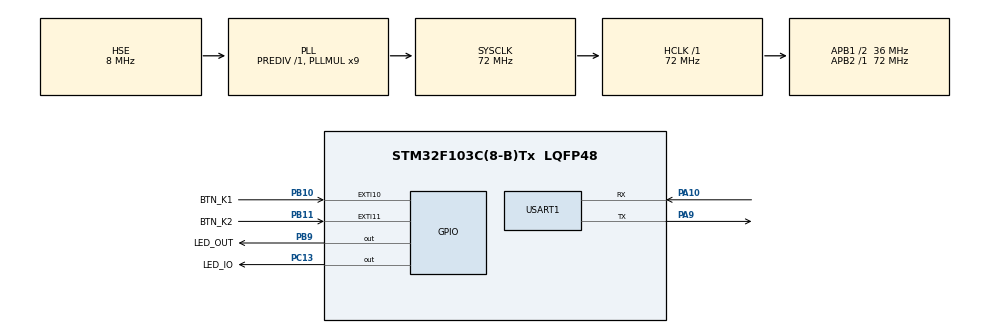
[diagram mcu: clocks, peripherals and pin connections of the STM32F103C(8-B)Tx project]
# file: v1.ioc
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Dma.Request0=USART1_RX
Dma.USART1_RX.0.Direction=DMA_PERIPH_TO_MEMORY
Dma.USART1_RX.0.Instance=DMA1_Channel5
Dma.USART1_RX.0.MemDataAlignment=DMA_MDATAALIGN_BYTE
Dma.USART1_RX.0.MemInc=DMA_MINC_ENABLE
Dma.USART1_RX.0.Mode=DMA_CIRCULAR
Dma.USART1_RX.0.PeriphDataAlignment=DMA_PDATAALIGN_BYTE
Dma.USART1_RX.0.PeriphInc=DMA_PINC_DISABLE
Dma.USART1_RX.0.Priority=DMA_PRIORITY_LOW
FREERTOS.Tasks01=defaultTask,24,128,StartDefaultTask,Default,NULL,Dynamic,NULL,NULL
FREERTOS.configTOTAL_HEAP_SIZE=15360
Mcu.Family=STM32F1
Mcu.Name=STM32F103C(8-B)Tx
Mcu.Package=LQFP48
NVIC.DMA1_Channel5_IRQn=true\:5\:0\:false\:false\:true\:true\:false\:true\:true
NVIC.EXTI15_10_IRQn=true\:5\:0\:false\:false\:true\:true\:true\:true\:true
NVIC.PriorityGroup=NVIC_PRIORITYGROUP_4
NVIC.TIM4_IRQn=true\:15\:0\:false\:false\:true\:false\:false\:true\:true
NVIC.TimeBase=TIM4_IRQn
NVIC.TimeBaseIP=TIM4
NVIC.USART1_IRQn=true\:5\:0\:false\:true\:true\:1\:true\:true\:true\:true
PA10.GPIO_PuPd=GPIO_PULLUP
PA10.Mode=Asynchronous
PA10.Signal=USART1_RX
PA13.Mode=Serial_Wire
PA13.Signal=SYS_JTMS-SWDIO
PA14.Mode=Serial_Wire
PA14.Signal=SYS_JTCK-SWCLK
PA9.GPIO_Speed=GPIO_SPEED_FREQ_HIGH
PA9.Mode=Asynchronous
PA9.Signal=USART1_TX
PB10.GPIO_Label=BTN_K1
PB10.GPIO_ModeDefaultEXTI=GPIO_MODE_IT_FALLING
PB10.GPIO_PuPd=GPIO_PULLUP
PB10.Signal=GPXTI10
PB11.GPIO_Label=BTN_K2
PB11.GPIO_ModeDefaultEXTI=GPIO_MODE_IT_FALLING
PB11.GPIO_PuPd=GPIO_PULLUP
PB11.Signal=GPXTI11
PB9.GPIO_Label=LED_OUT
PB9.Signal=GPIO_Output
PC13-TAMPER-RTC.GPIO_Label=LED_IO
PC13-TAMPER-RTC.Signal=GPIO_Output
PD0-OSC_IN.Mode=HSE-External-Oscillator
PD0-OSC_IN.Signal=RCC_OSC_IN
PD1-OSC_OUT.Mode=HSE-External-Oscillator
PD1-OSC_OUT.Signal=RCC_OSC_OUT
ProjectManager.HeapSize=0x200
ProjectManager.StackSize=0x400
ProjectManager.TargetToolchain=STM32CubeIDE
RCC.AHBFreq_Value=72000000
RCC.APB1CLKDivider=RCC_HCLK_DIV2
RCC.APB1Freq_Value=36000000
RCC.APB1TimFreq_Value=72000000
RCC.APB2Freq_Value=72000000
RCC.APB2TimFreq_Value=72000000
RCC.HCLKFreq_Value=72000000
RCC.PLLMUL=RCC_PLL_MUL9
RCC.PLLSourceVirtual=RCC_PLLSOURCE_HSE
RCC.SYSCLKFreq_VALUE=72000000
RCC.SYSCLKSource=RCC_SYSCLKSOURCE_PLLCLK
RCC.USBFreq_Value=72000000
USART1.VirtualMode=VM_ASYNC
VP_FREERTOS_VS_CMSIS_V2.Mode=CMSIS_V2
VP_SYS_VS_tim4.Mode=TIM4
board=custom

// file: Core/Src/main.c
/* USER CODE BEGIN Header */
/**
  ******************************************************************************
  * @file           : main.c
  * @brief          : Main program body
  ******************************************************************************
  * @attention
  *
  * Copyright (c) 2025 STMicroelectronics.
  * All rights reserved.
  *
  * This software is licensed under terms that can be found in the LICENSE file
  * in the root directory of this software component.
  * If no LICENSE file comes with this software, it is provided AS-IS.
  *
  ******************************************************************************
  */
/* USER CODE END Header */
#include "main.h"
#include "cmsis_os.h"

/* USER CODE BEGIN Includes */
#include "queue.h"
#include"timers.h"
#include "semphr.h"
#include "task.h"
#include "event_groups.h"

#include <stdio.h>
#include <string.h>
#include <stdint.h>
/* USER CODE END Includes */

/* USER CODE BEGIN PTD */
struct AInfo
{
	uint8_t sizeString;
	uint8_t dataString[255];
};
/* USER CODE END PTD */

/* USER CODE BEGIN PD */
#define BIT_0 (1<<0)
#define BIT_1 (1<<1)
#define BIT_2 (1<<2)
/* USER CODE END PD */

UART_HandleTypeDef huart1;
DMA_HandleTypeDef hdma_usart1_rx;

/* Definitions for defaultTask */
osThreadId_t defaultTaskHandle;
const osThreadAttr_t defaultTask_attributes = {
  .name = "defaultTask",
  .stack_size = 128 * 4,
  .priority = (osPriority_t) osPriorityNormal,
};
/* USER CODE BEGIN PV */
#define DWT_CTRL (*(volatile uint32_t*)0xE0001000) //DWT_CYCLE COUNT REGISTER
#define ISR_POOL_SIZE 5  // Pre-alloc 5 structs for ISR
static struct AInfo isrPool[ISR_POOL_SIZE];
static uint8_t poolIndex = 0;
static uint8_t poolUsed = 0;
QueueHandle_t XQueue;
QueueHandle_t XQueueUart;
QueueHandle_t XQueueUartDMA;
uint8_t bufferRx[255];
TimerHandle_t xTimerAutoReload,xTimerOneShot;
SemaphoreHandle_t xSemaphoreBin_1=NULL;
SemaphoreHandle_t xSemaphoreBin_2=NULL;
SemaphoreHandle_t xSemaphoreCnt_1=NULL;
SemaphoreHandle_t xSemaphoreCnt_2=NULL;
SemaphoreHandle_t xMutex = NULL;

static TaskHandle_t xTaskNotifyHandle_1;
static TaskHandle_t xTaskNotifyHandle_2;

static EventGroupHandle_t xEventGroupHandle;

/* USER CODE END PV */

void SystemClock_Config(void);
static void MX_GPIO_Init(void);
static void MX_DMA_Init(void);
static void MX_USART1_UART_Init(void);
void StartDefaultTask(void *argument);

static void MX_NVIC_Init(void);
/* USER CODE BEGIN PFP */
void vTaskLed(void *pvParameters);
void vTaskLed_out(void *pvParameters);
void vTaskSendQueue(void *pvParameters);
void vTaskReceiveQueue(void *pvParameters);
void vTaskReceiveQueueUart(void *pvParameters);
void vTaskReceiveQueueUartDMA(void *pvParameters);
void vTaskDebug(void *pvParameters);

static void prvTimerOneShotCallback( TimerHandle_t xTimer);
static void prvTimerAutoReloadCallback( TimerHandle_t xTimer);
static void prvTimerCallback( TimerHandle_t xTimer);

void vTaskSemaphore_1 (void *pvParameters);
void vTaskSemaphore_2 (void *pvParameters);

void vTaskNotification_1(void *pvParameters);
void vTaskNotification_2(void *pvParameters);

void vTaskEvent_1 (void *pvpParameters);
void vTaskEvent_2 (void *pvpParameters);
void vTaskEventCheck (void *pvpParameters);
/* USER CODE END PFP */

int main(void)
{

  /* MCU Configuration--------------------------------------------------------*/

  /* Reset of all peripherals, Initializes the Flash interface and the Systick. */
  HAL_Init();

  /* Configure the system clock */
  SystemClock_Config();

  /* Initialize all configured peripherals */
  MX_GPIO_Init();
  MX_DMA_Init();
  MX_USART1_UART_Init();

  /* Initialize interrupts */
  MX_NVIC_Init();
  /* USER CODE BEGIN 2 */
  HAL_UART_Receive_DMA(&huart1,bufferRx,255); //store data received into buffer array
  /* USER CODE END 2 */

  /* Init scheduler */
  osKernelInitialize();

  /* USER CODE BEGIN RTOS_MUTEX */
  /* add mutexes, ... */
  xMutex= xSemaphoreCreateMutex();
   if(xMutex ==NULL)
   {
 	  HAL_UART_Transmit(&huart1, "Error while creating mutex", 26, 1000);
   }
  /* USER CODE END RTOS_MUTEX */

  /* USER CODE BEGIN RTOS_SEMAPHORES */
  /* add semaphores, ... */

  /*xSemaphoreBin_1= xSemaphoreCreateBinary();
  xSemaphoreBin_2= xSemaphoreCreateBinary();

  if(xSemaphoreBin_1== NULL)
  {
	  HAL_UART_Transmit(&huart1,"Error While Creating Semaphore 1",32,1000);
  }
  if(xSemaphoreBin_2==NULL)
  {
	  HAL_UART_Transmit(&huart1,"Error While Creating Semaphore 2",32,1000);
  }*/
 /* xSemaphoreCnt_1= xSemaphoreCreateCounting(5,0);
  xSemaphoreCnt_2= xSemaphoreCreateCounting(5,0);

  if(xSemaphoreCnt_1== NULL)
  {
	  HAL_UART_Transmit(&huart1,"Error While Creating Semaphore 1",32,1000);
  }
  if(xSemaphoreCnt_2==NULL)
  {
	  HAL_UART_Transmit(&huart1,"Error While Creating Semaphore 2",32,1000);
  }*/

  /* USER CODE END RTOS_SEMAPHORES */

  /* USER CODE BEGIN RTOS_TIMERS */
  /* start timers, add new ones, ... */
  //creating on-shot

  if((xTimerOneShot= xTimerCreate("Oneshot",pdMS_TO_TICKS(355),pdFALSE, 0, prvTimerCallback))==NULL)
  {
	  HAL_UART_Transmit(&huart1,"Error While Creating ONE_SHOT Timer",35,1000);
  }
  else
  {
	  if(xTimerStart(xTimerOneShot,0)==pdFAIL)
	  {
		  HAL_UART_Transmit(&huart1,"Error during ONE_SHOT Timer start",33,1000);
	  }
  }

  //creating AUTORELOAD

  if((xTimerAutoReload= xTimerCreate("Auto Reload",pdMS_TO_TICKS(50),pdTRUE, 0, prvTimerCallback))==NULL)
  {
	  HAL_UART_Transmit(&huart1,"Error While Creating AUTO_RELOAD Timer",35,1000);
  }
  else
  {
	  if(xTimerStart(xTimerAutoReload,0)==pdFAIL)
	  {
		  HAL_UART_Transmit(&huart1,"Error during AUTO_RELOAD Timer start",33,1000);
	  }
  }
  /* USER CODE END RTOS_TIMERS */

  /* USER CODE BEGIN RTOS_QUEUES */
  /* add queues, ... */
  //create 10 elements 30 bit queue
  if ((XQueue= xQueueCreate(10,sizeof(uint32_t)))== NULL)
  {
	  HAL_UART_Transmit(&huart1,"Error while Creating Queue",26,1000);
  }
  /*//50 elemetn 8 bit
  if ((XQueueUart= xQueueCreate(10,sizeof(uint8_t)))== NULL)
   {
 	  HAL_UART_Transmit(&huart1,"Error while Creating Queue UART",31,1000);
   }*/
  //5 element unsigned 32 bit
  if ((XQueueUartDMA= xQueueCreate(10,sizeof(struct AInfo *)))== NULL)
     {
   	  HAL_UART_Transmit(&huart1,"Error while Creating Queue UART DMA \n",31,1000);
     }
  /* USER CODE END RTOS_QUEUES */

  /* Create the thread(s) */
  /* creation of defaultTask */
  defaultTaskHandle = osThreadNew(StartDefaultTask, NULL, &defaultTask_attributes);

  /* USER CODE BEGIN RTOS_THREADS */
  /* add threads, ... */
  //Enable cycle counter
  DWT_CTRL |= (1<<0);
  SEGGER_SYSVIEW_Conf();
  SEGGER_SYSVIEW_Start();

  if((xTaskCreate(vTaskLed,"TASK LED", configMINIMAL_STACK_SIZE, NULL, 1, NULL))!=pdTRUE)
  {
	  HAL_UART_Transmit(&huart1,"Error while Creating TASK LED",29,1000);
  }
  if((xTaskCreate(vTaskLed_out,"TASK LED_OUT", configMINIMAL_STACK_SIZE, NULL, 1, NULL))!=pdTRUE)
    {
	  HAL_UART_Transmit(&huart1,"Error while Creating TASK LED_OUT",33,1000);
    }

  //Task to send Queue
 /* if((xTaskCreate(vTaskSendQueue,"TASK SEND QUEUE", configMINIMAL_STACK_SIZE, NULL, 1, NULL))!=pdTRUE)
      {
  	  HAL_UART_Transmit(&huart1,"Error while Creating TASK SEND QUEUE",37,1000);
      }
  if((xTaskCreate(vTaskReceiveQueue,"TASK RECEIVE QUEUE", configMINIMAL_STACK_SIZE, NULL, 1, NULL))!=pdTRUE)
        {
    	  HAL_UART_Transmit(&huart1,"Error while Creating TASK RECEIVE QUEUE",39,1000);
        }*/
 /* if((xTaskCreate(vTaskReceiveQueueUart,"TASK RECEIVE QUEUE UART", configMINIMAL_STACK_SIZE, NULL, 2, NULL))!=pdTRUE)
          {
      	  HAL_UART_Transmit(&huart1,"Error while Creating TASK RECEIVE QUEUE UART",44,1000);
         }*/
   /*if((xTaskCreate(vTaskReceiveQueueUartDMA,"TASK RECEIVE QUEUE UART DMA", configMINIMAL_STACK_SIZE*2, NULL, 2, NULL))!=pdTRUE)
           {
       	  HAL_UART_Transmit(&huart1,"Error while Creating TASK RECEIVE QUEUE UARTDMA\n",47,1000);
           }*/
//    if((xTaskCreate(vTaskDebug,"TASK Debug", configMINIMAL_STACK_SIZE*2, NULL, 1, NULL))!=pdTRUE)
//              {
//           	  HAL_UART_Transmit(&huart1,"Error while Creating Debug TASK",31,1000);
//               }
    //create task to receive semaphore 1- pushbtn input
    /*if((xTaskCreate(vTaskSemaphore_1,"TASK SEMAPHORE 1", configMINIMAL_STACK_SIZE*2, NULL, 2, NULL))!=pdTRUE)
    {
    	HAL_UART_Transmit(&huart1,"Error while Creating Semaphore 1",32,1000);
    }
    if((xTaskCreate(vTaskSemaphore_2,"TASK SEMAPHORE 2", configMINIMAL_STACK_SIZE*2, NULL, 2, NULL))!=pdTRUE)
        {
        	HAL_UART_Transmit(&huart1,"Error while Creating Semaphore 2",32,1000);
        }*/

  if((xTaskCreate(vTaskNotification_1, "TASK NOTIFY 1", configMINIMAL_STACK_SIZE*2, NULL, 1, &xTaskNotifyHandle_1))!= pdTRUE)
		{
			HAL_UART_Transmit(&huart1,"Error while Creating TASK NOTIFICATION 1",40,1000);
		}
  if((xTaskCreate(vTaskNotification_2, "TASK NOTIFY 2", configMINIMAL_STACK_SIZE*2, NULL, 1, &xTaskNotifyHandle_2))!= pdTRUE)
		{
			HAL_UART_Transmit(&huart1,"Error while Creating TASK NOTIFICATION 2",40,1000);
		}

  /* USER CODE END RTOS_THREADS */

  /* USER CODE BEGIN RTOS_EVENTS */
	xEventGroupHandle = xEventGroupCreate();

	//create task to set bit 0
	if((xTaskCreate(vTaskEvent_1, "TASK Event 1", configMINIMAL_STACK_SIZE*2, NULL, 1, &xTaskNotifyHandle_2))!= pdTRUE)
	{
		HAL_UART_Transmit(&huart1,"Error while Creating TASK Event 1",33,1000);
	}

	//create task to set bit 1
	if((xTaskCreate(vTaskEvent_2, "TASK Event 2", configMINIMAL_STACK_SIZE*2, NULL, 1, &xTaskNotifyHandle_2))!= pdTRUE)
	{
		HAL_UART_Transmit(&huart1,"Error while Creating TASK Event 2",33,1000);
	}

	//create task to set check event
	if((xTaskCreate(vTaskEventCheck, "TASK Event check", configMINIMAL_STACK_SIZE*2, NULL, 1, &xTaskNotifyHandle_2))!= pdTRUE)
	{
		HAL_UART_Transmit(&huart1,"Error while Creating TASK Event check",37,1000);
	}

  /* add events, ... */
  /* USER CODE END RTOS_EVENTS */

  /* Start scheduler */
  osKernelStart();

  /* We should never get here as control is now taken by the scheduler */

  /* Infinite loop */
  while (1)
  {

  }
}

void SystemClock_Config(void)
{
  RCC_OscInitTypeDef RCC_OscInitStruct = {0};
  RCC_ClkInitTypeDef RCC_ClkInitStruct = {0};

  /** Initializes the RCC Oscillators according to the specified parameters
  * in the RCC_OscInitTypeDef structure.
  */
  RCC_OscInitStruct.OscillatorType = RCC_OSCILLATORTYPE_HSE;
  RCC_OscInitStruct.HSEState = RCC_HSE_ON;
  RCC_OscInitStruct.HSEPredivValue = RCC_HSE_PREDIV_DIV1;
  RCC_OscInitStruct.HSIState = RCC_HSI_ON;
  RCC_OscInitStruct.PLL.PLLState = RCC_PLL_ON;
  RCC_OscInitStruct.PLL.PLLSource = RCC_PLLSOURCE_HSE;
  RCC_OscInitStruct.PLL.PLLMUL = RCC_PLL_MUL9;
  if (HAL_RCC_OscConfig(&RCC_OscInitStruct) != HAL_OK)
  {
    Error_Handler();
  }

  /** Initializes the CPU, AHB and APB buses clocks
  */
  RCC_ClkInitStruct.ClockType = RCC_CLOCKTYPE_HCLK|RCC_CLOCKTYPE_SYSCLK
                              |RCC_CLOCKTYPE_PCLK1|RCC_CLOCKTYPE_PCLK2;
  RCC_ClkInitStruct.SYSCLKSource = RCC_SYSCLKSOURCE_PLLCLK;
  RCC_ClkInitStruct.AHBCLKDivider = RCC_SYSCLK_DIV1;
  RCC_ClkInitStruct.APB1CLKDivider = RCC_HCLK_DIV2;
  RCC_ClkInitStruct.APB2CLKDivider = RCC_HCLK_DIV1;

  if (HAL_RCC_ClockConfig(&RCC_ClkInitStruct, FLASH_LATENCY_2) != HAL_OK)
  {
    Error_Handler();
  }
}

/**
  * @brief NVIC Configuration.
  * @retval None
  */
static void MX_NVIC_Init(void)
{
  /* USART1_IRQn interrupt configuration */
  HAL_NVIC_SetPriority(USART1_IRQn, 5, 0);
  HAL_NVIC_EnableIRQ(USART1_IRQn);
}

static void MX_USART1_UART_Init(void)
{

  huart1.Instance = USART1;
  huart1.Init.BaudRate = 115200;
  huart1.Init.WordLength = UART_WORDLENGTH_8B;
  huart1.Init.StopBits = UART_STOPBITS_1;
  huart1.Init.Parity = UART_PARITY_NONE;
  huart1.Init.Mode = UART_MODE_TX_RX;
  huart1.Init.HwFlowCtl = UART_HWCONTROL_NONE;
  huart1.Init.OverSampling = UART_OVERSAMPLING_16;
  if (HAL_UART_Init(&huart1) != HAL_OK)
  {
    Error_Handler();
  }
  /* USER CODE BEGIN USART1_Init 2 */
  //__HAL_UART_ENABLE_IT(&huart1,UART_IT_RXNE);
  //__HAL_UART_ENABLE_IT(&huart1, UART_IT_IDLE);
  /* USER CODE END USART1_Init 2 */

}

static void MX_DMA_Init(void)
{

  /* DMA controller clock enable */
  __HAL_RCC_DMA1_CLK_ENABLE();

  /* DMA interrupt init */
  /* DMA1_Channel5_IRQn interrupt configuration */
  HAL_NVIC_SetPriority(DMA1_Channel5_IRQn, 5, 0);
  HAL_NVIC_EnableIRQ(DMA1_Channel5_IRQn);

}

static void MX_GPIO_Init(void)
{
  GPIO_InitTypeDef GPIO_InitStruct = {0};

  /* GPIO Ports Clock Enable */
  __HAL_RCC_GPIOC_CLK_ENABLE();
  __HAL_RCC_GPIOD_CLK_ENABLE();
  __HAL_RCC_GPIOB_CLK_ENABLE();
  __HAL_RCC_GPIOA_CLK_ENABLE();

  /*Configure GPIO pin Output Level */
  HAL_GPIO_WritePin(LED_IO_GPIO_Port, LED_IO_Pin, GPIO_PIN_RESET);

  /*Configure GPIO pin Output Level */
  HAL_GPIO_WritePin(LED_OUT_GPIO_Port, LED_OUT_Pin, GPIO_PIN_RESET);

  /*Configure GPIO pin : LED_IO_Pin */
  GPIO_InitStruct.Pin = LED_IO_Pin;
  GPIO_InitStruct.Mode = GPIO_MODE_OUTPUT_PP;
  GPIO_InitStruct.Pull = GPIO_NOPULL;
  GPIO_InitStruct.Speed = GPIO_SPEED_FREQ_LOW;
  HAL_GPIO_Init(LED_IO_GPIO_Port, &GPIO_InitStruct);

  /*Configure GPIO pins : BTN_K1_Pin BTN_K2_Pin */
  GPIO_InitStruct.Pin = BTN_K1_Pin|BTN_K2_Pin;
  GPIO_InitStruct.Mode = GPIO_MODE_IT_FALLING;
  GPIO_InitStruct.Pull = GPIO_PULLUP;
  HAL_GPIO_Init(GPIOB, &GPIO_InitStruct);

  /*Configure GPIO pin : LED_OUT_Pin */
  GPIO_InitStruct.Pin = LED_OUT_Pin;
  GPIO_InitStruct.Mode = GPIO_MODE_OUTPUT_PP;
  GPIO_InitStruct.Pull = GPIO_NOPULL;
  GPIO_InitStruct.Speed = GPIO_SPEED_FREQ_LOW;
  HAL_GPIO_Init(LED_OUT_GPIO_Port, &GPIO_InitStruct);

  /* EXTI interrupt init*/
  HAL_NVIC_SetPriority(EXTI15_10_IRQn, 5, 0);
  HAL_NVIC_EnableIRQ(EXTI15_10_IRQn);

}

/* USER CODE BEGIN 4 */
void vTaskLed(void *pvParameters)
{
	//variable decleration
	for(;;)
	{
		HAL_GPIO_TogglePin(LED_IO_GPIO_Port,LED_IO_Pin);
		vTaskDelay(50/portTICK_PERIOD_MS);
	}
	//Delete this task if loop is breaked
	vTaskDelete(NULL);
}
void vTaskLed_out(void *pvParameters)
{
	//variable decleration
	for(;;)
	{
		HAL_GPIO_TogglePin(LED_OUT_GPIO_Port,LED_OUT_Pin);
		vTaskDelay(50/portTICK_PERIOD_MS);
	}
	//Delete this task if loop is breaked
	vTaskDelete(NULL);
}

void vTaskSendQueue(void *pvParameters)
{
	uint32_t CounterSend=0;
	char txText[50];
	//vTaskSuspendAll();
	xSemaphoreTake(xMutex, portMAX_DELAY);
	HAL_UART_Transmit(&huart1,"\nStart Send Queue",16,1000);
	xSemaphoreGive(xMutex);
	//taskEXIT_CRITICAL();
	//xTaskResumeAll();
	for(;;)
	{
		//IF queue if full, wait until it is free
		//BE CAREFUL!!!! if queue never free the task will wait forever
		if((xQueueSend(XQueue, &CounterSend, 10/portTICK_PERIOD_MS ))==pdPASS)
		{
			sprintf(txText,"QUEUE SEND, Value:%ld (Spaces avail:%lu)\r\n", CounterSend,uxQueueSpacesAvailable(XQueue));
			//taskENTER_CRITICAL();
			//vTaskSuspendAll();
			xSemaphoreTake(xMutex, portMAX_DELAY);
			HAL_UART_Transmit(&huart1,txText,strlen(txText),1000);
			//taskEXIT_CRITICAL();
			xSemaphoreGive(xMutex);
			//xTaskResumeAll();
			CounterSend++;
		}
		else
		{
			//vTaskSuspendAll();
			xSemaphoreTake(xMutex, portMAX_DELAY);
			HAL_UART_Transmit(&huart1,"QUEUE IS FULL! \t ",14,1000);
			xSemaphoreGive(xMutex);
			//xTaskResumeAll();
		}
		vTaskDelay(100/portTICK_PERIOD_MS);
	}
	vTaskDelete(NULL);
}
void vTaskReceiveQueue(void *pvParameters)
{
	uint32_t CounterReceive=0;
	char txText[50];
	//vTaskSuspendAll();
	xSemaphoreTake(xMutex, portMAX_DELAY);
	HAL_UART_Transmit(&huart1,"\nStart Receive Queue",19,1000);
	//taskEXIT_CRITICAL();
	xSemaphoreGive(xMutex);
	//xTaskResumeAll();
	for(;;)
	{
		//wait until queue receive value
		if((xQueueReceive(XQueue, &CounterReceive, 10/portTICK_PERIOD_MS ))==pdPASS)
		{
			sprintf(txText,"QUEUE RECEIVE, Value:%ld \n", CounterReceive);
			//taskENTER_CRITICAL();
			//vTaskSuspendAll();
			xSemaphoreTake(xMutex, portMAX_DELAY);
			HAL_UART_Transmit(&huart1,txText,strlen(txText),1000);
			//taskEXIT_CRITICAL();
			xSemaphoreGive(xMutex);
			//xTaskResumeAll();
		}
		vTaskDelay(100/portTICK_PERIOD_MS);
	}
	vTaskDelete(NULL);
}

/*
void vTaskReceiveQueueUart(void *pvParameters)
{
	uint8_t txText;
	for(;;)
	{
		//wait until queue receive value
		if((xQueueReceive(XQueueUart, &txText, portMAX_DELAY ))==pdPASS)
		{
			//sprintf(txText,"QUEUE RECEIVE, Value:%ld \n", CounterReceive);
			//taskENTER_CRITICAL();
			vTaskSuspendAll();
			HAL_UART_Transmit(&huart1,txText,1,1000);
			//taskEXIT_CRITICAL();
			xTaskResumeAll();
		}
		vTaskDelay(100/portTICK_PERIOD_MS);
	}
	vTaskDelete(NULL);
}
*/

void vTaskReceiveQueueUartDMA(void *pvParameters)
{
	struct AInfo * pxInfoTx;
	for(;;)
	{
		//wait until queue receive value
		if((xQueueReceive(XQueueUart, &pxInfoTx, portMAX_DELAY ))==pdPASS)
		{
			//sprintf(txText,"QUEUE RECEIVE, Value:%ld \n", CounterReceive);
			//taskENTER_CRITICAL();
			//vTaskSuspendAll();
			xSemaphoreTake(xMutex, portMAX_DELAY);
			HAL_UART_Transmit(&huart1,pxInfoTx->dataString,pxInfoTx->sizeString,1000);
			//taskEXIT_CRITICAL();
			xSemaphoreGive(xMutex);
			//xTaskResumeAll();
		}
		vTaskDelay(100/portTICK_PERIOD_MS);
	}
	vTaskDelete(NULL);
}

/*void USART_UserInt(UART_HandleTypeDef* huart)
{
	uint8_t rxChar;
	static portBASE_TYPE XHigherPriorityTaskWoken;

	XHigherPriorityTaskWoken = pdFALSE;

	HAL_UART_Receive(&huart1, &rxChar,1,10);
	xQueueSendFromISR(XQueueUart, &rxChar, &XHigherPriorityTaskWoken);

	//insert token at end of isr
	portYEILD_FROM_ISR(XHigherPriorityTaskWoken);
}*/
void USART_UserInt(UART_HandleTypeDef* huart) {
    BaseType_t xHigherPriorityTaskWoken = pdFALSE;
    uint8_t dataLength;

    if (huart->Instance == USART1 && __HAL_UART_GET_FLAG(huart, UART_FLAG_IDLE) != RESET) {
        __HAL_UART_CLEAR_IDLEFLAG(huart);
        HAL_UART_DMAStop(huart);

        dataLength = 255 - __HAL_DMA_GET_COUNTER(&hdma_usart1_rx);
        if (dataLength > 0 && poolUsed < ISR_POOL_SIZE) {  // Only if data & pool avail
            struct AInfo *pxInfoRx = &isrPool[poolIndex];
            pxInfoRx->sizeString = dataLength;
            memcpy(pxInfoRx->dataString, bufferRx, dataLength);
            xQueueSendFromISR(XQueueUartDMA, &pxInfoRx, &xHigherPriorityTaskWoken);  // Send ptr to pool slot
            poolIndex = (poolIndex + 1) % ISR_POOL_SIZE;
            poolUsed++;
        }
        HAL_UART_Receive_DMA(huart, bufferRx, 255);
        portYIELD_FROM_ISR(xHigherPriorityTaskWoken);
    }
}

void vTaskDebug(void *pvParameters)
{
	//variable decleration
	uint8_t txText[512];
	for(;;)
	{

		vTaskList(txText);
		//vTaskSuspendAll();
		xSemaphoreTake(xMutex, portMAX_DELAY);
		HAL_UART_Transmit(&huart1,"\n\n",2,1000);
		HAL_UART_Transmit(&huart1,txText,strlen(txText),1000);
		HAL_UART_Transmit(&huart1,"\n\n",2,1000);
		memset(txText,0,sizeof(txText));
		sprintf(txText,"TOTAL FREE HEAP SIZE: %d bytes \n\n",xPortGetMinimumEverFreeHeapSize());
		HAL_UART_Transmit(&huart1,txText,strlen(txText),1000);
		xSemaphoreGive(xMutex);
		//xTaskResumeAll();
		vTaskDelay(5000/portTICK_PERIOD_MS);
	}
	//Delete this task if loop is breaked
	vTaskDelete(NULL);
}

static void prvTimerOneShotCallback(TimerHandle_t xTimer)
{
	TickType_t xTimeNow;
	uint8_t txText[200];

	xTimeNow=xTaskGetTickCount();

	//vTaskSuspendAll();
	xSemaphoreTake(xMutex, portMAX_DELAY);
	sprintf(txText,"Timer Oneshot callback, timestamp: %ld\r\n",xTimeNow);
	HAL_UART_Transmit(&huart1,txText,strlen(txText),1000);
	xSemaphoreGive(xMutex);
	//xTaskResumeAll();

}
static void prvTimerAutoReloadCallback(TimerHandle_t xTimer)
{
	TickType_t xTimeNow;
	uint8_t txText[200];

	xTimeNow=xTaskGetTickCount();

	//vTaskSuspendAll();
	xSemaphoreTake(xMutex, portMAX_DELAY);
	sprintf(txText,"Timer Auto Reload callback, timestamp: %ld\r\n",xTimeNow);
	HAL_UART_Transmit(&huart1,txText,strlen(txText),1000);
	xSemaphoreGive(xMutex);
	//xTaskResumeAll();

}

static void prvTimerCallback(TimerHandle_t xTimer)
{
	TickType_t xTimeNow;
	uint8_t txText[200];
	static uint32_t Count_AutoReload;

	xTimeNow=xTaskGetTickCount();

	//vTaskSuspendAll();
	xSemaphoreTake(xMutex, portMAX_DELAY);
	if (xTimer == xTimerOneShot)
	{
		sprintf(txText,"Oneshot Execution, timestamp: %ld\r\n",xTimeNow);
	}
	else
	{
		Count_AutoReload++;
		if(Count_AutoReload==10)
		{
			xTimerChangePeriod(xTimer,pdMS_TO_TICKS(300),0);

		}
		sprintf(txText,"AutoReload Execution, timestamp: %ld\r\n",xTimeNow);

	}

	HAL_UART_Transmit(&huart1,txText,strlen(txText),1000);
	xSemaphoreGive(xMutex);
	//xTaskResumeAll();

}

void vTaskSemaphore_1 ( void *pvParameters)
{
	//infinte loop
	for(;;)
	{
//		xSemaphoreTake(xSemaphoreBin_1,portMAX_DELAY);
		xSemaphoreTake(xSemaphoreCnt_1,portMAX_DELAY);
		//vTaskSuspendAll();
		xSemaphoreTake(xMutex, portMAX_DELAY);
		HAL_UART_Transmit(&huart1, "BTN k1 pressed", 14, 1000);
		xSemaphoreGive(xMutex);
		//xTaskResumeAll();
	}
	vTaskDelete(NULL);
}

void vTaskSemaphore_2 ( void *pvParameters)
{
	//infinte loop
	for(;;)
	{
//		xSemaphoreTake(xSemaphoreBin_2,portMAX_DELAY);
		xSemaphoreTake(xSemaphoreCnt_2,portMAX_DELAY);
		//vTaskSuspendAll();
		xSemaphoreTake(xMutex, portMAX_DELAY);
		HAL_UART_Transmit(&huart1, "BTN k2 pressed", 14, 1000);
		xSemaphoreGive(xMutex);
		//xTaskResumeAll();
	}
	vTaskDelete(NULL);
}

void vTaskNotification_1 (void *pvParameters)
{
	uint32_t ulnotificvalue;
	uint8_t txText[100];
	for(;;)
	{

		ulnotificvalue=ulTaskNotifyTake(pdFALSE, portMAX_DELAY);
		//vTaskSuspendAll();
		xSemaphoreTake(xMutex, portMAX_DELAY);
		sprintf(txText,"Button K1 pressed:%ld \r\n",ulnotificvalue);
		HAL_UART_Transmit(&huart1, txText, strlen(txText), 1000);
		xSemaphoreGive(xMutex);
		//xTaskResumeAll();

	}
	vTaskDelete(NULL);
}
void vTaskNotification_2 (void *pvParameters)
{
	uint32_t ulnotificvalue;
	uint8_t txText[100];
	for(;;)
	{

		ulnotificvalue=ulTaskNotifyTake(pdFALSE, portMAX_DELAY);
		//vTaskSuspendAll();
		xSemaphoreTake(xMutex, portMAX_DELAY);
		sprintf(txText,"Button K2 pressed:%ld \r\n",ulnotificvalue);
		HAL_UART_Transmit(&huart1, txText, strlen(txText), 1000);
		xSemaphoreGive(xMutex);
		//xTaskResumeAll();

	}
	vTaskDelete(NULL);
}

void vTaskEvent_1 (void *pvParameters)
{

	for(;;)
	{
		//xEventGroupSync(xEventGroupHandle, BIT_0, BIT_0 | BIT_1 | BIT_2, portMAX_DELAY);
		xEventGroupWaitBits(xEventGroupHandle, BIT_0, pdTRUE,pdTRUE, portMAX_DELAY);
		//vTaskSuspendAll();
		xSemaphoreTake(xMutex, portMAX_DELAY);
		HAL_UART_Transmit(&huart1, "BIT 0 SET and synced\r\n", 22, 1000);
		xSemaphoreGive(xMutex);
		//xTaskResumeAll();
		//xEventGroupSetBits(xEventGroupHandle, BIT_0);
		//vTaskDelay(3000 /portTICK_PERIOD_MS);

	}
	vTaskDelete(NULL);
}
void vTaskEvent_2 (void *pvParameters)
{

	for(;;)
	{
		//xEventGroupSync(xEventGroupHandle, BIT_1, BIT_0 | BIT_1 | BIT_2, portMAX_DELAY);
		xEventGroupWaitBits(xEventGroupHandle, BIT_0, pdTRUE,pdTRUE, portMAX_DELAY);
		//vTaskSuspendAll();
		xSemaphoreTake(xMutex, portMAX_DELAY);
		HAL_UART_Transmit(&huart1, "BIT 0 SET and synced\r\n", 22, 1000);
		xSemaphoreGive(xMutex);
		//xTaskResumeAll();
		//xEventGroupSetBits(xEventGroupHandle, BIT_1);
		//vTaskDelay(10000 /portTICK_PERIOD_MS);

	}
	vTaskDelete(NULL);
}

void vTaskEventCheck (void *pvParameters)
{
	EventBits_t getBits;

	for(;;)
	{
		/*getBits = xEventGroupWaitBits(xEventGroupHandle, BIT_0 | BIT_1, pdTRUE, pdTRUE, portMAX_DELAY);
		if((getBits &(BIT_0 | BIT_1))==(BIT_0 | BIT_1))
		{
			vTaskSuspendAll();
			HAL_UART_Transmit(&huart1, "Both bits were set\r\n", 20, 1000);
			xTaskResumeAll();
		}
		else if((getBits & BIT_0)!=0)
		{
			vTaskSuspendAll();
			HAL_UART_Transmit(&huart1, "EVent group BIT_0 was set\r\n", 27, 1000);
			xTaskResumeAll();
		}
		else if((getBits & BIT_1)!=0)
		{
			vTaskSuspendAll();
			HAL_UART_Transmit(&huart1, "EVent group BIT_1 was set\r\n", 27, 1000);
			xTaskResumeAll();
		}*/
		getBits = xEventGroupSync(xEventGroupHandle, BIT_2, BIT_0 | BIT_1 | BIT_2, 5000/portTICK_PERIOD_MS);
		if((getBits & (BIT_0|BIT_1|BIT_2))== (BIT_0|BIT_1|BIT_2))
		{
			//vTaskSuspendAll();
			xSemaphoreTake(xMutex, portMAX_DELAY);
			HAL_UART_Transmit(&huart1, "All events synced\r\n", 19, 1000);
			xSemaphoreGive(xMutex);
			//xTaskResumeAll();
		}
		else
		{
			//vTaskSuspendAll();
			xSemaphoreTake(xMutex, portMAX_DELAY);
			HAL_UART_Transmit(&huart1, "All events synced failed!! TIMEOUT\r\n", 36, 1000);
			xSemaphoreGive(xMutex);
			//xTaskResumeAll();
		}
		xEventGroupSetBits(xEventGroupHandle, BIT_0);

	}
	vTaskDelete(NULL);
}

void HAL_GPIO_EXTI_Callback(uint16_t GPIO_Pin)
{
	BaseType_t xHigherPriorityTaskWoken;
	static uint32_t cnt_1=0;
	static uint32_t cnt_2=0;
	uint32_t ulPreviousValue_1;
	uint32_t ulPreviousValue_2;

	xHigherPriorityTaskWoken=pdFALSE;
	if(GPIO_Pin == BTN_K2_Pin)
	{
//		xSemaphoreGiveFromISR(xSemaphoreBin_2,&xHigherPriorityTaskWoken);
		/*xSemaphoreGiveFromISR(xSemaphoreCnt_2,&xHigherPriorityTaskWoken);
		xSemaphoreGiveFromISR(xSemaphoreCnt_2,&xHigherPriorityTaskWoken);
		xSemaphoreGiveFromISR(xSemaphoreCnt_2,&xHigherPriorityTaskWoken);*/
		/*vTaskNotifyGiveFromISR(xTaskNotifyHandle_2, &xHigherPriorityTaskWoken);
		vTaskNotifyGiveFromISR(xTaskNotifyHandle_2, &xHigherPriorityTaskWoken);
		vTaskNotifyGiveFromISR(xTaskNotifyHandle_2, &xHigherPriorityTaskWoken);*/
		cnt_2++;
		xTaskNotifyAndQueryFromISR(xTaskNotifyHandle_2,cnt_2,eSetValueWithoutOverwrite,&ulPreviousValue_2,&xHigherPriorityTaskWoken);
	}
	if(GPIO_Pin == BTN_K1_Pin)
	{
//		xSemaphoreGiveFromISR(xSemaphoreBin_1,&xHigherPriorityTaskWoken);
		/*xSemaphoreGiveFromISR(xSemaphoreCnt_1,&xHigherPriorityTaskWoken);
		xSemaphoreGiveFromISR(xSemaphoreCnt_1,&xHigherPriorityTaskWoken);
		xSemaphoreGiveFromISR(xSemaphoreCnt_1,&xHigherPriorityTaskWoken);*/
		/*vTaskNotifyGiveFromISR(xTaskNotifyHandle_1, &xHigherPriorityTaskWoken);
		vTaskNotifyGiveFromISR(xTaskNotifyHandle_1, &xHigherPriorityTaskWoken);
		vTaskNotifyGiveFromISR(xTaskNotifyHandle_1, &xHigherPriorityTaskWoken);*/
		cnt_1++;
		xTaskNotifyAndQueryFromISR(xTaskNotifyHandle_1,cnt_1,eSetValueWithoutOverwrite,&ulPreviousValue_1,&xHigherPriorityTaskWoken);
	}
	portYIELD_FROM_ISR(xHigherPriorityTaskWoken);
}
/* USER CODE END 4 */

void StartDefaultTask(void *argument)
{
  for(;;)
  {
    osDelay(1);
  }
}

void HAL_TIM_PeriodElapsedCallback(TIM_HandleTypeDef *htim)
{
  if (htim->Instance == TIM4)
  {
    HAL_IncTick();
  }
}

void Error_Handler(void)
{
  __disable_irq();
  while (1)
  {
  }
}
